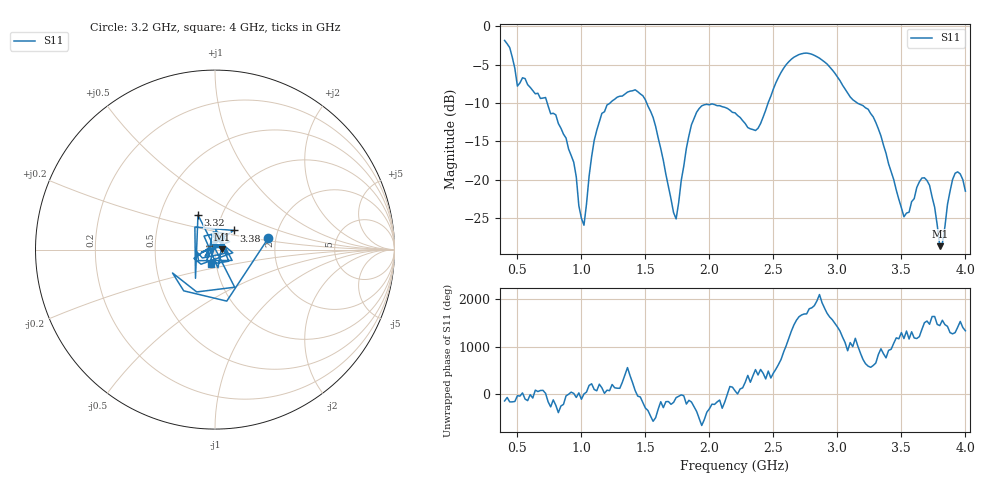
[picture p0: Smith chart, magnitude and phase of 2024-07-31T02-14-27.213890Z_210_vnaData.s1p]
!Created with skrf (http://scikit-rf.org).
# Hz S RI R 50.0
!freq ReS11 ImS11
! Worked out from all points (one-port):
!   181 points, 400 MHz to 4 GHz, reference 50 ohm
!   lowest |S11| = -28.6 dB at 3.8 GHz (marker M1), VSWR 1.08, Z = 53.8 + j0.0673 ohm
!   |S11| at or under -10 dB: 733.2 MHz to 1.223 GHz (490.2 MHz wide, 50.1 % of centre); 1.51 GHz to 2.458 GHz (948.1 MHz wide, 47.8 % of centre); 3.156 GHz to end of sweep
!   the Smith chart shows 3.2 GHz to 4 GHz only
!   S11 on the Smith chart (normalised r, x): 3.2 GHz: 1.82, +0.26; 3.32 GHz: 0.77, +0.31; 3.38 GHz: 1.20, +0.26; 4 GHz: 0.94, -0.15
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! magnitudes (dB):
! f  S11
! 400 MHz  -1.9
! 500 MHz  -7.8
! 720 MHz  -9.3
! 860 MHz  -14.0
! 940 MHz  -17.7
! 1.02 GHz  -25.9
! 1.12 GHz  -13.5
! 1.3 GHz  -9.1
! 1.5 GHz  -9.6
! 1.58 GHz  -13.0
! 1.72 GHz  -24.3
! 1.76 GHz  -22.9
! 1.82 GHz  -15.9
! 1.9 GHz  -11.2
! 2.2 GHz  -11.3
! 2.38 GHz  -13.3
! 2.66 GHz  -4.0
! 2.86 GHz  -4.2
! 3.1 GHz  -9.2
! 3.2 GHz  -10.3
! 3.32 GHz  -13.4
! 3.38 GHz  -16.5
! 3.52 GHz  -24.8
! 3.56 GHz  -24.2
! 3.7 GHz  -20.1
! 3.8 GHz  -28.6
! 3.92 GHz  -19.1
! 4 GHz  -21.5
